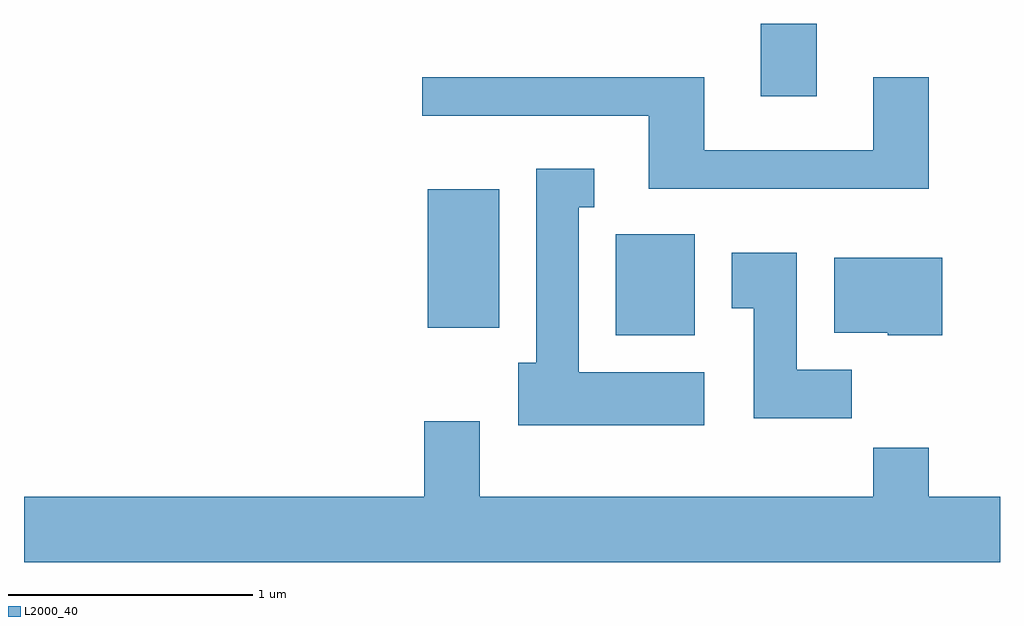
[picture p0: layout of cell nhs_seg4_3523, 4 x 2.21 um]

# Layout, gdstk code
import gdstk
lib = gdstk.Library(unit=1e-6, precision=1e-09)
def R(c, l, rs):  # rectangles x0, y0, x1, y1
    for r in rs: c.add(gdstk.rectangle(r[:2], r[2:], *l))
def P(c, l, *ps):  # polygons
    for p in ps: c.add(gdstk.Polygon(p, *l))
L2000_40 = (2000, 40)

nhs_seg4_3523 = lib.new_cell('nhs_seg4_3523')
R(nhs_seg4_3523, L2000_40, [(290.036,1366.706,290.359,1367.119), (289.266,1366.736,289.559,1367.304), (290.631,1367.686,290.859,1367.982)])
P(nhs_seg4_3523, L2000_40, [(291.319,1367.764),(291.091,1367.764),(291.091,1367.464),(290.399,1367.464),(290.399,1367.764),(289.243,1367.764),(289.243,1367.606),(290.171,1367.606),(290.171,1367.306),(291.319,1367.306)],
  [(290.399,1366.554),(289.884,1366.554),(289.884,1367.231),(289.948,1367.231),(289.948,1367.389),(289.711,1367.389),(289.711,1366.594),(289.636,1366.594),(289.636,1366.336),(290.399,1366.336)],
  [(291.004,1366.564),(290.779,1366.564),(290.779,1367.044),(290.511,1367.044),(290.511,1366.816),(290.601,1366.816),(290.601,1366.366),(291.004,1366.366)],
  [(291.374,1367.024),(290.931,1367.024),(290.931,1366.716),(291.15,1366.716),(291.15,1366.706),(291.374,1366.706)],
  [(291.611,1366.044),(291.319,1366.044),(291.319,1366.244),(291.091,1366.244),(291.091,1366.044),(289.479,1366.044),(289.479,1366.354),(289.251,1366.354),(289.251,1366.044),(287.611,1366.044),(287.611,1365.776),(291.611,1365.776)])

lib.write_gds('nhs_seg4_3523.gds')
